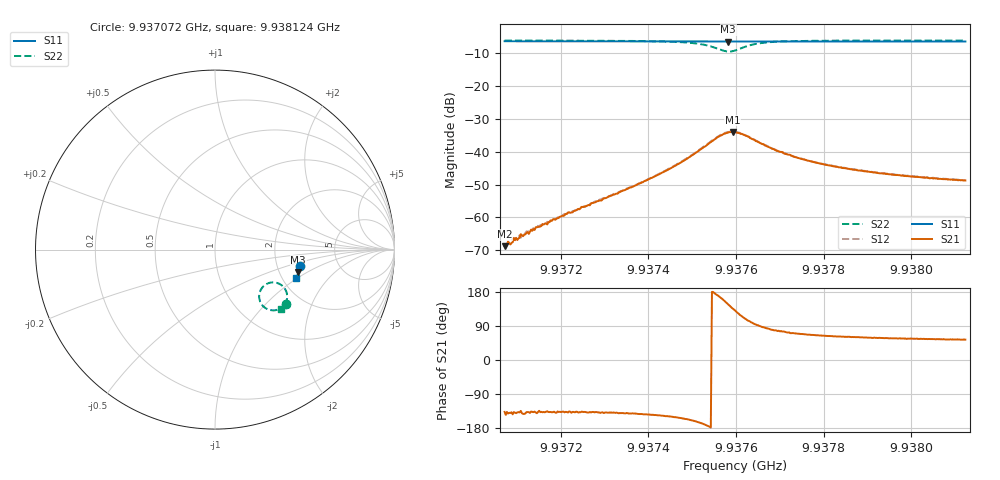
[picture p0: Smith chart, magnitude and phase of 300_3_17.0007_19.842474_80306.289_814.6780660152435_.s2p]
#  HZ  S  RI  R  50.00
! Rohde & Schwarz Vector Network Analyzer
! Rohde-Schwarz,ZNB20-2Port,1311601062101988,3.16
! Created: UTC 3/20/2024, 11:05:34 PM
! freq[Hz]  re:S11  im:S11  re:S21  im:S21  re:S12  im:S12  re:S22  im:S22
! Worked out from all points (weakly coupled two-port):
!   401 points, 9.937072 GHz to 9.938124 GHz, reference 50 ohm
!   highest |S21| = -33.96 dB at 9.937592 GHz (marker M1); lowest = -68.7 dB at 9.937072 GHz (marker M2)
!   lowest |S11| = -6.4 dB at 9.937582 GHz (marker M3), VSWR 2.85, Z = 127 - j41.3 ohm
!   |S11| at or under -10 dB: nowhere
!   |S22| runs from -9.4 to -6.0 dB; largest |S21 - S12| = 0.0009
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9.9370715e9  0.4754 -0.0926  -0.000267 -0.000249  -0.000305 -0.000236  0.3949 -0.3038
9.9370794e9  0.4754 -0.0931  -0.000339 -0.000271  -0.000305 -0.000263  0.3945 -0.3045
9.9370926e9  0.475 -0.0938  -0.000357 -0.000327  -0.000368 -0.00032  0.3933 -0.3056
9.9371057e9  0.4749 -0.0947  -0.000367 -0.000326  -0.000398 -0.000357  0.3923 -0.3063
9.9371478e9  0.4741 -0.0977  -0.000526 -0.000484  -0.000563 -0.000489  0.3891 -0.3096
9.9371794e9  0.4735 -0.0998  -0.00066 -0.000594  -0.00068 -0.000628  0.3866 -0.3119
9.9372478e9  0.4721 -0.1044  -0.00105 -0.00101  -0.00109 -0.000942  0.3802 -0.3176
9.9373767e9  0.4696 -0.113  -0.00258 -0.00199  -0.00259 -0.00195  0.3604 -0.3301
9.9374241e9  0.4685 -0.1164  -0.00376 -0.00253  -0.00388 -0.00252  0.3475 -0.335
9.9374819e9  0.4669 -0.1203  -0.00671 -0.00314  -0.00691 -0.00307  0.3202 -0.3385
9.9375267e9  0.4654 -0.1233  -0.0116 -0.00218  -0.0119 -0.00198  0.2803 -0.3251
9.9375582e9  0.464 -0.1248  -0.0166 0.00276  -0.0167 0.00318  0.2481 -0.2792
9.9375819e9  0.4632 -0.1254  -0.0165 0.0107  -0.0165 0.0113  0.2589 -0.2175
9.9375924e9  0.4633 -0.1257  -0.0143 0.014  -0.0143 0.0145  0.2811 -0.1951
9.9375977e9  0.4632 -0.1259  -0.013 0.0151  -0.0127 0.0157  0.2949 -0.1881
9.937624e9  0.4636 -0.1274  -0.00502 0.0168  -0.00452 0.017  0.3589 -0.1908
9.937653e9  0.4635 -0.1293  6.53e-06 0.0139  0.000255 0.014  0.3919 -0.2223
9.9377135e9  0.4626 -0.1339  0.00261 0.00891  0.00281 0.00899  0.4018 -0.2682
9.937774e9  0.4612 -0.1379  0.00286 0.00649  0.00301 0.00647  0.3971 -0.2904
9.9378397e9  0.4597 -0.1425  0.00274 0.00509  0.00286 0.00507  0.3906 -0.3043
9.9379502e9  0.4571 -0.1497  0.00247 0.00383  0.00255 0.00386  0.3812 -0.3189
9.9381239e9  0.4524 -0.1609  0.00216 0.00295  0.00224 0.00292  0.3688 -0.3336
